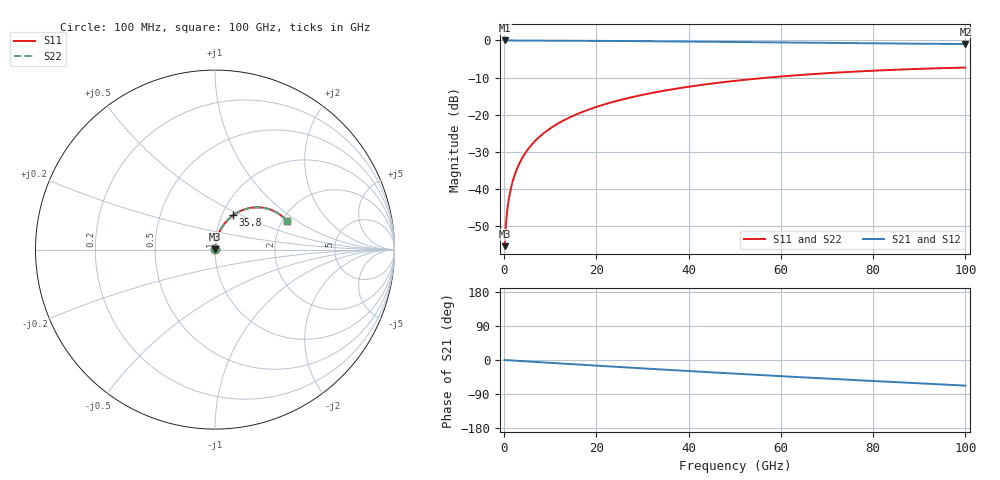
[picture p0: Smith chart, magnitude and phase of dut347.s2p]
! Touchstone file exported from HFSS 2026.1.0
!  File:  C:/ffzhzh/LocalFiles/Ansys_Project_Files/temp_train_RDL_347_1783503163_44152.aedt
!  Generated:  05:33:56 PM Jul  8, 2026
!  Design:  RDL
!  Project:  temp_train_RDL_347_1783503163_44152
! Variables:
!  h_bsmrdl = 2um
!  h_ox = 20um
!  h_rdl = 5um
!  h_sub = 80um
!  h_tmrdl = 2.19um
!  h_tsv = 80um
!  h_via = 3um
!  l_bsmrdl = 300um
!  l_sub = 593.15um
!  l_tmrdl = 193.15um
!  m_sub = 200um
!  pitch = 47.71um
!  r_tsv = 6um
!  s_tmrdl = 10um
!  w_bsmrdl = 18um
!  w_sub = 500um
!  w_tmrdl = 29.05um
!  x_tsv_center1 = 207.675um
!  x_tsv_center2 = 525.675um
!  x_tsv_center3 = 747.875um
!  x_tsv_center4 = 1065.875um
!  x_tsv_center5 = 1288.075um
!  x_tsv_center6 = 1606.075um
# GHz S MA R 50.000000
! Terminal data exported
! Port[1] = TM_RDL1_1_T1
! Port[2] = TM_RDL1_1_T2
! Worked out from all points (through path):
!   1000 points, 100 MHz to 100 GHz, reference 50 ohm
!   highest |S21| = -0.01 dB at 100 MHz (marker M1); lowest = -1.0 dB at 100 GHz (marker M2)
!   group delay of S21, straight-line fit = 1.88 ps
!   lowest |S11| = -55.5 dB at 100 MHz (marker M3), VSWR 1.00, Z = 50.2 + j0.0772 ohm
!   |S11| at or under -10 dB: start of sweep to 57.39 GHz
!   |S22| runs from -55.5 to -7.3 dB; largest |S21 - S12| = 8.3e-15
!   S11 on the Smith chart (normalised r, x): 100 MHz: 1.00, +0.00; 35.8 GHz: 1.13, +0.45; 100 GHz: 2.12, +0.82
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0.1  0.001688 27.1  0.9985 -0.1  0.9985 -0.1  0.001688 27.1
! Gamma 0 0 0 0
! Port Impedance 50 0 50 0
0.4  0.003397 59.6  0.9983 -0.3  0.9983 -0.3  0.003397 59.6
0.7  0.005273 68.7  0.9981 -0.5  0.9981 -0.5  0.005273 68.7
0.9  0.006525 72.0  0.998 -0.7  0.998 -0.7  0.006525 72.0
1.2  0.008419 75.2  0.9979 -0.9  0.9979 -0.9  0.008419 75.2
1.6  0.01097 77.9  0.9979 -1.2  0.9979 -1.2  0.01097 77.9
2.1  0.01419 79.7  0.9978 -1.6  0.9978 -1.6  0.01419 79.7
2.7  0.01808 81.0  0.9976 -2.1  0.9976 -2.1  0.01808 81.0
3.4  0.02262 81.7  0.9975 -2.6  0.9975 -2.6  0.02262 81.7
4.3  0.02847 82.0  0.9972 -3.3  0.9972 -3.3  0.02847 82.0
5.3  0.03496 82.0  0.9969 -4.0  0.9969 -4.0  0.03496 82.0
6.4  0.04209 81.7  0.9965 -4.8  0.9965 -4.8  0.04209 81.6
9.2  0.0601 80.3  0.9952 -6.9  0.9952 -6.9  0.0601 80.2
12.6  0.08164 78.1  0.9932 -9.5  0.9932 -9.5  0.08164 78.1
16.8  0.1077 75.2  0.9901 -12.6  0.9901 -12.6  0.1077 75.2
24.2  0.1518 70.1  0.9833 -18.0  0.9833 -18.0  0.1518 70.1
33.4  0.2033 63.8  0.9731 -24.5  0.9731 -24.5  0.2033 63.8
35.8  0.216 62.2  0.9701 -26.2  0.9701 -26.2  0.216 62.1
50.1  0.2855 52.6  0.9513 -36.1  0.9513 -36.1  0.2855 52.5
66.7  0.3508 41.9  0.9288 -47.0  0.9288 -47.0  0.3508 41.8
83.4  0.3993 31.5  0.9088 -57.5  0.9088 -57.5  0.3993 31.4
100  0.4304 21.6  0.8943 -67.6  0.8943 -67.6  0.4304 21.5
